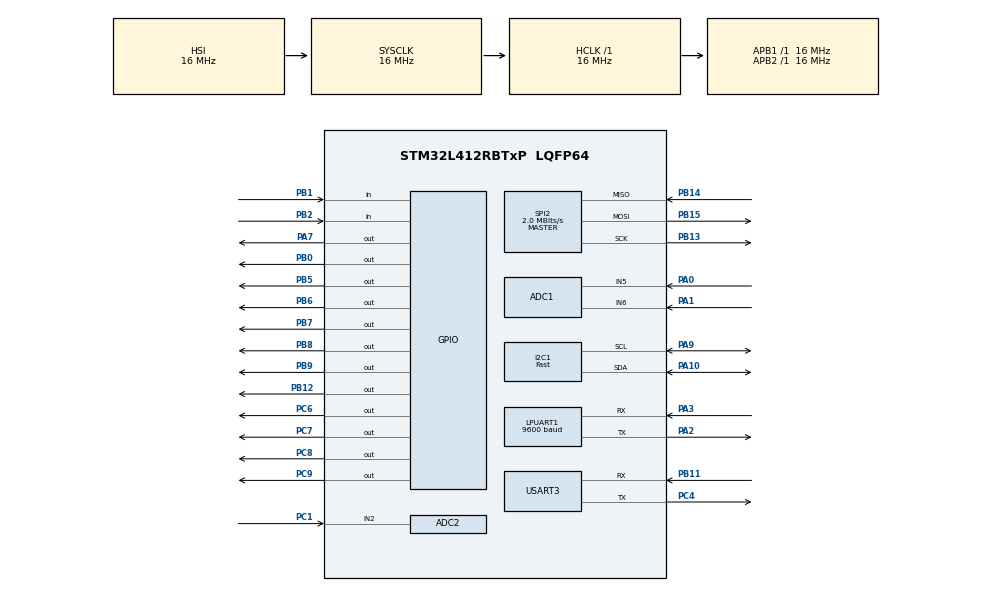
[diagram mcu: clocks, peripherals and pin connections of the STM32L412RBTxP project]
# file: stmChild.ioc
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ADC1.Channel-1\#ChannelRegularConversion=ADC_CHANNEL_5
ADC1.NbrOfConversionFlag=1
ADC1.OffsetNumber-1\#ChannelRegularConversion=ADC_OFFSET_NONE
ADC1.Rank-1\#ChannelRegularConversion=1
ADC1.SamplingTime-1\#ChannelRegularConversion=ADC_SAMPLETIME_2CYCLES_5
ADC1.master=1
ADC2.Channel-1\#ChannelRegularConversion=ADC_CHANNEL_2
ADC2.NbrOfConversionFlag=1
ADC2.OffsetNumber-1\#ChannelRegularConversion=ADC_OFFSET_NONE
ADC2.Rank-1\#ChannelRegularConversion=1
ADC2.SamplingTime-1\#ChannelRegularConversion=ADC_SAMPLETIME_6CYCLES_5
FATFS._MAX_SS=4096
FATFS._USE_LFN=1
I2C1.I2C_Speed_Mode=I2C_Fast
I2C1.Timing=0x0010061A
LPUART1.BaudRate=9600
LPUART1.WordLength=UART_WORDLENGTH_8B
Mcu.Family=STM32L4
Mcu.Name=STM32L412RBTxP
Mcu.Package=LQFP64
NVIC.LPUART1_IRQn=true\:0\:0\:false\:false\:true\:true\:true\:true
NVIC.PriorityGroup=NVIC_PRIORITYGROUP_4
NVIC.RTC_Alarm_IRQn=true\:0\:0\:false\:false\:true\:true\:true\:true
PA0.Signal=ADCx_IN5
PA1.Signal=ADCx_IN6
PA10.Mode=I2C
PA10.Signal=I2C1_SDA
PA13\ (JTMS/SWDIO).Mode=Serial_Wire
PA13\ (JTMS/SWDIO).Signal=SYS_JTMS-SWDIO
PA14\ (JTCK/SWCLK).Mode=Serial_Wire
PA14\ (JTCK/SWCLK).Signal=SYS_JTCK-SWCLK
PA2.Mode=Asynchronous
PA2.Signal=LPUART1_TX
PA3.Mode=Asynchronous
PA3.Signal=LPUART1_RX
PA7.Signal=GPIO_Output
PA9.Mode=I2C
PA9.Signal=I2C1_SCL
PB0.Signal=GPIO_Output
PB1.Signal=GPIO_Input
PB11.Mode=Asynchronous
PB11.Signal=USART3_RX
PB12.Signal=GPIO_Output
PB13.Mode=Full_Duplex_Master
PB13.Signal=SPI2_SCK
PB14.Mode=Full_Duplex_Master
PB14.Signal=SPI2_MISO
PB15.Mode=Full_Duplex_Master
PB15.Signal=SPI2_MOSI
PB2.Signal=GPIO_Input
PB5.Signal=GPIO_Output
PB6.Signal=GPIO_Output
PB7.Signal=GPIO_Output
PB8.Signal=GPIO_Output
PB9.Signal=GPIO_Output
PC1.Signal=ADCx_IN2
PC14-OSC32_IN\ (PC14).Mode=LSE-External-Oscillator
PC14-OSC32_IN\ (PC14).Signal=RCC_OSC32_IN
PC15-OSC32_OUT\ (PC15).Mode=LSE-External-Oscillator
PC15-OSC32_OUT\ (PC15).Signal=RCC_OSC32_OUT
PC4.Mode=Asynchronous
PC4.Signal=USART3_TX
PC6.Signal=GPIO_Output
PC7.Signal=GPIO_Output
PC8.Signal=GPIO_Output
PC9.Signal=GPIO_Output
PH0-OSC_IN\ (PH0).Mode=HSE-External-Oscillator
PH0-OSC_IN\ (PH0).Signal=RCC_OSC_IN
PH1-OSC_OUT\ (PH1).Mode=HSE-External-Oscillator
PH1-OSC_OUT\ (PH1).Signal=RCC_OSC_OUT
ProjectManager.HeapSize=0x200
ProjectManager.StackSize=0x400
ProjectManager.TargetToolchain=STM32CubeIDE
RCC.ADCFreq_Value=16000000
RCC.AHBFreq_Value=16000000
RCC.APB1Freq_Value=16000000
RCC.APB1TimFreq_Value=16000000
RCC.APB2Freq_Value=16000000
RCC.APB2TimFreq_Value=16000000
RCC.CortexFreq_Value=16000000
RCC.HCLKFreq_Value=16000000
RCC.HSE_VALUE=8000000
RCC.HSI48_VALUE=48000000
RCC.HSI_VALUE=16000000
RCC.MSI_VALUE=4000000
RCC.RTCClockSelection=RCC_RTCCLKSOURCE_LSE
RCC.SYSCLKFreq_VALUE=16000000
RCC.SYSCLKSource=RCC_SYSCLKSOURCE_HSI
RCC.USBFreq_Value=4000000
RCC.VCOOutputFreq_Value=32000000
RTC.Alarm-Alarm\ A=RTC_ALARM_A
RTC.AlarmDateWeekDaySel-Alarm\ A=RTC_ALARMDATEWEEKDAYSEL_WEEKDAY
RTC.AlarmDateWeekDaySel_B-Alarm\ B=RTC_ALARMDATEWEEKDAYSEL_WEEKDAY
RTC.AlarmMaskDateWeekDay-Alarm\ A=RTC_ALARMMASK_DATEWEEKDAY
RTC.AlarmMaskDateWeekDay_B-Alarm\ B=RTC_ALARMMASK_DATEWEEKDAY
RTC.AlarmMaskHours-Alarm\ A=RTC_ALARMMASK_HOURS
RTC.AlarmMaskHours_B-Alarm\ B=RTC_ALARMMASK_HOURS
RTC.AlarmMaskMinutes-Alarm\ A=RTC_ALARMMASK_MINUTES
RTC.AlarmMaskMinutes_B-Alarm\ B=RTC_ALARMMASK_MINUTES
RTC.Alarm_B-Alarm\ B=RTC_ALARM_B
RTC.Format=RTC_FORMAT_BIN
RTC.Seconds=0
RTC.Seconds_A-Alarm\ A=0
RTC.Seconds_B-Alarm\ B=30
SH.ADCx_IN2.0=ADC2_IN2,IN2-Single-Ended
SH.ADCx_IN5.0=ADC1_IN5,IN5-Single-Ended
SH.ADCx_IN6.0=ADC1_IN6,IN6-Single-Ended
SPI2.BaudRatePrescaler=SPI_BAUDRATEPRESCALER_8
SPI2.CalculateBaudRate=2.0 MBits/s
SPI2.DataSize=SPI_DATASIZE_8BIT
SPI2.Direction=SPI_DIRECTION_2LINES
SPI2.Mode=SPI_MODE_MASTER
SPI2.VirtualType=VM_MASTER
USART3.VirtualMode-Asynchronous=VM_ASYNC
VP_FATFS_VS_Generic.Mode=User_defined
VP_RNG_VS_RNG.Mode=RNG_Activate
VP_RTC_VS_RTC_Activate.Mode=RTC_Enabled
VP_RTC_VS_RTC_Alarm_A_Intern.Mode=Alarm A
VP_RTC_VS_RTC_Alarm_B_Intern.Mode=Alarm B
VP_RTC_VS_RTC_Calendar.Mode=RTC_Calendar
board=custom

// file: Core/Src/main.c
/* USER CODE BEGIN Header */
/**
  ******************************************************************************
  * @file           : main.c
  * @brief          : Main program body
  ******************************************************************************
  * @attention
  *
  * Copyright (c) 2023 STMicroelectronics.
  * All rights reserved.
  *
  * This software is licensed under terms that can be found in the LICENSE file
  * in the root directory of this software component.
  * If no LICENSE file comes with this software, it is provided AS-IS.
  *
  ******************************************************************************
  */
/* USER CODE END Header */
#include "main.h"
#include "fatfs.h"

/* USER CODE BEGIN Includes */
#include "retarget.h"
#include <ManagementChild.h>
#include <stdio.h>
#include <stdlib.h>
#include "SDcard/SDcommunication.h"
#include "UnitTests.h"
#include <RF/comms.h>

//#include <LCD/LiquidCrystal.h>
/* USER CODE END Includes */

ADC_HandleTypeDef hadc1;
ADC_HandleTypeDef hadc2;

I2C_HandleTypeDef hi2c1;

UART_HandleTypeDef hlpuart1;
UART_HandleTypeDef huart3;

RNG_HandleTypeDef hrng;

RTC_HandleTypeDef hrtc;

SPI_HandleTypeDef hspi2;

void SystemClock_Config(void);
static void MX_GPIO_Init(void);
static void MX_RTC_Init(void);
static void MX_I2C1_Init(void);
static void MX_RNG_Init(void);
static void MX_LPUART1_UART_Init(void);
static void MX_SPI2_Init(void);
static void MX_USART3_UART_Init(void);
static void MX_ADC1_Init(void);
static void MX_ADC2_Init(void);

/* USER CODE BEGIN 0 */
struct Queue RXFIFO;
uint8_t UART2_rxBuffer[20];
/* USER CODE END 0 */

int main(void)
{
  /* USER CODE BEGIN 1 */

	struct CommunicationHandles handles;
	handles.SPIhandle = &hspi2;
	handles.UARThandle = &hlpuart1;
	handles.ADChandle1 = &hadc1;
	handles.ADChandle2 = &hadc2;
	handles.I2Chandle = &hi2c1;
	handles.RTChandle = &hrtc;

  /* USER CODE END 1 */

  /* MCU Configuration--------------------------------------------------------*/

  /* Reset of all peripherals, Initializes the Flash interface and the Systick. */
  HAL_Init();

  /* Configure the system clock */
  SystemClock_Config();

  /* Initialize all configured peripherals */
  MX_GPIO_Init();
  MX_RTC_Init();
  MX_I2C1_Init();
  MX_RNG_Init();
  MX_LPUART1_UART_Init();
  MX_SPI2_Init();
  MX_FATFS_Init();
  MX_USART3_UART_Init();
  MX_ADC1_Init();
  MX_ADC2_Init();
  /* USER CODE BEGIN 2 */
  RetargetInit(&huart3);

  HAL_UART_Receive_IT(&hlpuart1, UART2_rxBuffer, MSG_SIZE_TRANSFER);

  //HAL_Delay(100);
  struct rfDataStorage rfData;
  rfData.RXFIFO = &RXFIFO;
  if(mainSetup(&rfData, &handles)){
  	  mainOperation(&rfData, &handles);
  }

  HAL_GPIO_WritePin(GPIOC, GPIO_PIN_6, GPIO_PIN_SET);
  HAL_GPIO_WritePin(GPIOC, GPIO_PIN_7, GPIO_PIN_SET);
  HAL_GPIO_WritePin(GPIOC, GPIO_PIN_8, GPIO_PIN_SET);
  HAL_GPIO_WritePin(GPIOC, GPIO_PIN_9, GPIO_PIN_SET);
  //depth test
  struct DepthData depthData;
  depthData.pos = 0;
  depthData.output1 = 0;
  depthData.output2 = 0;
  depthData.max_value_1 = 0;
  depthData.min_value_1 = 0;
  depthData.max_value_2 = 0;
  depthData.min_value_2 = 0;
  /* USER CODE END 2 */

  /* Infinite loop */
  /* USER CODE BEGIN WHILE */
  while (1)
  {
	  //Im_Here(&rfData);
    /* USER CODE END WHILE */

    /* USER CODE BEGIN 3 */

	  //HAL_GPIO_WritePin(spiGPIO, spiGPIOPin, GPIO_PIN_SET);
	  //HAL_Delay(100);
	  //SDcardTest();
	  //HAL_GPIO_WritePin(spiGPIO, spiGPIOPin, GPIO_PIN_RESET);

	  //flashTest();

	  /*HAL_GPIO_WritePin(spiGPIO, spiGPIOPin, GPIO_PIN_SET);
	  HAL_Delay(100);
	  TemperatureTest(&hspi2);
	  HAL_GPIO_WritePin(spiGPIO, spiGPIOPin, GPIO_PIN_RESET);*/

	  //HAL_GPIO_WritePin(uartGPIO, uartGPIOPin, GPIO_PIN_SET);
	  //HAL_Delay(100);
	  //rfTest(&hlpuart1);
	  //HAL_GPIO_WritePin(uartGPIO, uartGPIOPin, GPIO_PIN_RESET);

	  HAL_GPIO_WritePin(i2cGPIO, i2cGPIOPin, GPIO_PIN_SET);
	  HAL_Delay(100);
	  pressureTest(&hi2c1, LPS28DFW_I2C_ADDRESS_DEFAULT);
	  pressureTest(&hi2c1, LPS28DFW_I2C_ADDRESS_SECONDARY);
	  HAL_GPIO_WritePin(i2cGPIO, i2cGPIOPin, GPIO_PIN_RESET);
	  //mainOperation(&rfData, &handles);
	  /*HAL_GPIO_WritePin(adcGPIO, adcGPIOPin, GPIO_PIN_SET);
	  HAL_Delay(100);
	  depthTest(&hadc1, &hadc2, &depthData);
	  HAL_GPIO_WritePin(adcGPIO, adcGPIOPin, GPIO_PIN_RESET);*/

	  //HAL_GPIO_WritePin(adcGPIO, adcGPIOPin, GPIO_PIN_SET);
	  //HAL_Delay(100);
	  //batteryTest(&hadc1);
	  //HAL_GPIO_WritePin(adcGPIO, adcGPIOPin, GPIO_PIN_RESET);

	  printf("\r\nLoop");

	  HAL_Delay(100);
  }
  /* USER CODE END 3 */
}

void SystemClock_Config(void)
{
  RCC_OscInitTypeDef RCC_OscInitStruct = {0};
  RCC_ClkInitTypeDef RCC_ClkInitStruct = {0};

  /** Configure the main internal regulator output voltage
  */
  if (HAL_PWREx_ControlVoltageScaling(PWR_REGULATOR_VOLTAGE_SCALE1) != HAL_OK)
  {
    Error_Handler();
  }

  /** Configure LSE Drive Capability
  */
  HAL_PWR_EnableBkUpAccess();
  __HAL_RCC_LSEDRIVE_CONFIG(RCC_LSEDRIVE_LOW);

  /** Initializes the RCC Oscillators according to the specified parameters
  * in the RCC_OscInitTypeDef structure.
  */
  RCC_OscInitStruct.OscillatorType = RCC_OSCILLATORTYPE_HSI|RCC_OSCILLATORTYPE_LSE
                              |RCC_OSCILLATORTYPE_MSI;
  RCC_OscInitStruct.LSEState = RCC_LSE_ON;
  RCC_OscInitStruct.HSIState = RCC_HSI_ON;
  RCC_OscInitStruct.HSICalibrationValue = RCC_HSICALIBRATION_DEFAULT;
  RCC_OscInitStruct.MSIState = RCC_MSI_ON;
  RCC_OscInitStruct.MSICalibrationValue = 0;
  RCC_OscInitStruct.MSIClockRange = RCC_MSIRANGE_6;
  RCC_OscInitStruct.PLL.PLLState = RCC_PLL_NONE;
  if (HAL_RCC_OscConfig(&RCC_OscInitStruct) != HAL_OK)
  {
    Error_Handler();
  }

  /** Initializes the CPU, AHB and APB buses clocks
  */
  RCC_ClkInitStruct.ClockType = RCC_CLOCKTYPE_HCLK|RCC_CLOCKTYPE_SYSCLK
                              |RCC_CLOCKTYPE_PCLK1|RCC_CLOCKTYPE_PCLK2;
  RCC_ClkInitStruct.SYSCLKSource = RCC_SYSCLKSOURCE_HSI;
  RCC_ClkInitStruct.AHBCLKDivider = RCC_SYSCLK_DIV1;
  RCC_ClkInitStruct.APB1CLKDivider = RCC_HCLK_DIV1;
  RCC_ClkInitStruct.APB2CLKDivider = RCC_HCLK_DIV1;

  if (HAL_RCC_ClockConfig(&RCC_ClkInitStruct, FLASH_LATENCY_0) != HAL_OK)
  {
    Error_Handler();
  }

  /** Enable MSI Auto calibration
  */
  HAL_RCCEx_EnableMSIPLLMode();
}

static void MX_ADC1_Init(void)
{

  ADC_MultiModeTypeDef multimode = {0};
  ADC_ChannelConfTypeDef sConfig = {0};

  /** Common config
  */
  hadc1.Instance = ADC1;
  hadc1.Init.ClockPrescaler = ADC_CLOCK_ASYNC_DIV1;
  hadc1.Init.Resolution = ADC_RESOLUTION_12B;
  hadc1.Init.DataAlign = ADC_DATAALIGN_RIGHT;
  hadc1.Init.ScanConvMode = ADC_SCAN_DISABLE;
  hadc1.Init.EOCSelection = ADC_EOC_SINGLE_CONV;
  hadc1.Init.LowPowerAutoWait = DISABLE;
  hadc1.Init.ContinuousConvMode = DISABLE;
  hadc1.Init.NbrOfConversion = 1;
  hadc1.Init.DiscontinuousConvMode = DISABLE;
  hadc1.Init.ExternalTrigConv = ADC_SOFTWARE_START;
  hadc1.Init.ExternalTrigConvEdge = ADC_EXTERNALTRIGCONVEDGE_NONE;
  hadc1.Init.DMAContinuousRequests = DISABLE;
  hadc1.Init.Overrun = ADC_OVR_DATA_PRESERVED;
  hadc1.Init.OversamplingMode = DISABLE;
  if (HAL_ADC_Init(&hadc1) != HAL_OK)
  {
    Error_Handler();
  }

  /** Configure the ADC multi-mode
  */
  multimode.Mode = ADC_MODE_INDEPENDENT;
  if (HAL_ADCEx_MultiModeConfigChannel(&hadc1, &multimode) != HAL_OK)
  {
    Error_Handler();
  }

  /** Configure Regular Channel
  */
  sConfig.Channel = ADC_CHANNEL_5;
  sConfig.Rank = ADC_REGULAR_RANK_1;
  sConfig.SamplingTime = ADC_SAMPLETIME_2CYCLES_5;
  sConfig.SingleDiff = ADC_SINGLE_ENDED;
  sConfig.OffsetNumber = ADC_OFFSET_NONE;
  sConfig.Offset = 0;
  if (HAL_ADC_ConfigChannel(&hadc1, &sConfig) != HAL_OK)
  {
    Error_Handler();
  }

}

static void MX_ADC2_Init(void)
{

  ADC_ChannelConfTypeDef sConfig = {0};

  /** Common config
  */
  hadc2.Instance = ADC2;
  hadc2.Init.ClockPrescaler = ADC_CLOCK_ASYNC_DIV1;
  hadc2.Init.Resolution = ADC_RESOLUTION_12B;
  hadc2.Init.DataAlign = ADC_DATAALIGN_RIGHT;
  hadc2.Init.ScanConvMode = ADC_SCAN_DISABLE;
  hadc2.Init.EOCSelection = ADC_EOC_SINGLE_CONV;
  hadc2.Init.LowPowerAutoWait = DISABLE;
  hadc2.Init.ContinuousConvMode = DISABLE;
  hadc2.Init.NbrOfConversion = 1;
  hadc2.Init.DiscontinuousConvMode = DISABLE;
  hadc2.Init.ExternalTrigConv = ADC_SOFTWARE_START;
  hadc2.Init.ExternalTrigConvEdge = ADC_EXTERNALTRIGCONVEDGE_NONE;
  hadc2.Init.DMAContinuousRequests = DISABLE;
  hadc2.Init.Overrun = ADC_OVR_DATA_PRESERVED;
  hadc2.Init.OversamplingMode = DISABLE;
  if (HAL_ADC_Init(&hadc2) != HAL_OK)
  {
    Error_Handler();
  }

  /** Configure Regular Channel
  */
  sConfig.Channel = ADC_CHANNEL_2;
  sConfig.Rank = ADC_REGULAR_RANK_1;
  sConfig.SamplingTime = ADC_SAMPLETIME_6CYCLES_5;
  sConfig.SingleDiff = ADC_SINGLE_ENDED;
  sConfig.OffsetNumber = ADC_OFFSET_NONE;
  sConfig.Offset = 0;
  if (HAL_ADC_ConfigChannel(&hadc2, &sConfig) != HAL_OK)
  {
    Error_Handler();
  }

}

static void MX_I2C1_Init(void)
{

  hi2c1.Instance = I2C1;
  hi2c1.Init.Timing = 0x0010061A;
  hi2c1.Init.OwnAddress1 = 0;
  hi2c1.Init.AddressingMode = I2C_ADDRESSINGMODE_7BIT;
  hi2c1.Init.DualAddressMode = I2C_DUALADDRESS_DISABLE;
  hi2c1.Init.OwnAddress2 = 0;
  hi2c1.Init.OwnAddress2Masks = I2C_OA2_NOMASK;
  hi2c1.Init.GeneralCallMode = I2C_GENERALCALL_DISABLE;
  hi2c1.Init.NoStretchMode = I2C_NOSTRETCH_DISABLE;
  if (HAL_I2C_Init(&hi2c1) != HAL_OK)
  {
    Error_Handler();
  }

  /** Configure Analogue filter
  */
  if (HAL_I2CEx_ConfigAnalogFilter(&hi2c1, I2C_ANALOGFILTER_ENABLE) != HAL_OK)
  {
    Error_Handler();
  }

  /** Configure Digital filter
  */
  if (HAL_I2CEx_ConfigDigitalFilter(&hi2c1, 0) != HAL_OK)
  {
    Error_Handler();
  }

}

static void MX_LPUART1_UART_Init(void)
{

  hlpuart1.Instance = LPUART1;
  hlpuart1.Init.BaudRate = 9600;
  hlpuart1.Init.WordLength = UART_WORDLENGTH_8B;
  hlpuart1.Init.StopBits = UART_STOPBITS_1;
  hlpuart1.Init.Parity = UART_PARITY_NONE;
  hlpuart1.Init.Mode = UART_MODE_TX_RX;
  hlpuart1.Init.HwFlowCtl = UART_HWCONTROL_NONE;
  hlpuart1.Init.OneBitSampling = UART_ONE_BIT_SAMPLE_DISABLE;
  hlpuart1.AdvancedInit.AdvFeatureInit = UART_ADVFEATURE_NO_INIT;
  if (HAL_UART_Init(&hlpuart1) != HAL_OK)
  {
    Error_Handler();
  }

}

static void MX_USART3_UART_Init(void)
{

  huart3.Instance = USART3;
  huart3.Init.BaudRate = 115200;
  huart3.Init.WordLength = UART_WORDLENGTH_8B;
  huart3.Init.StopBits = UART_STOPBITS_1;
  huart3.Init.Parity = UART_PARITY_NONE;
  huart3.Init.Mode = UART_MODE_TX_RX;
  huart3.Init.HwFlowCtl = UART_HWCONTROL_NONE;
  huart3.Init.OverSampling = UART_OVERSAMPLING_16;
  huart3.Init.OneBitSampling = UART_ONE_BIT_SAMPLE_DISABLE;
  huart3.AdvancedInit.AdvFeatureInit = UART_ADVFEATURE_NO_INIT;
  if (HAL_UART_Init(&huart3) != HAL_OK)
  {
    Error_Handler();
  }

}

static void MX_RNG_Init(void)
{

  hrng.Instance = RNG;
  if (HAL_RNG_Init(&hrng) != HAL_OK)
  {
    Error_Handler();
  }

}

static void MX_RTC_Init(void)
{

  RTC_TimeTypeDef sTime = {0};
  RTC_DateTypeDef sDate = {0};
  RTC_AlarmTypeDef sAlarm = {0};

  /** Initialize RTC Only
  */
  hrtc.Instance = RTC;
  hrtc.Init.HourFormat = RTC_HOURFORMAT_24;
  hrtc.Init.AsynchPrediv = 127;
  hrtc.Init.SynchPrediv = 255;
  hrtc.Init.OutPut = RTC_OUTPUT_DISABLE;
  hrtc.Init.OutPutRemap = RTC_OUTPUT_REMAP_NONE;
  hrtc.Init.OutPutPolarity = RTC_OUTPUT_POLARITY_HIGH;
  hrtc.Init.OutPutType = RTC_OUTPUT_TYPE_OPENDRAIN;
  hrtc.Init.OutPutPullUp = RTC_OUTPUT_PULLUP_NONE;
  if (HAL_RTC_Init(&hrtc) != HAL_OK)
  {
    Error_Handler();
  }

  /* USER CODE BEGIN Check_RTC_BKUP */

  if (HAL_RTCEx_BKUPRead(&hrtc, RTC_BKP_DR0) != RTC_BKUP_DEFINE_CODE)
    {
  	// Clear Backup registor : recover to current RTC information

  	// Set to Time/Date from current Time/Date

  	// Write a data in ad RTC Backup data register
  	HAL_RTCEx_BKUPWrite(&hrtc, RTC_BKP_DR0, RTC_BKUP_DEFINE_CODE);

  	sTime.Hours = 0;
  	  sTime.Minutes = 0;
  	  sTime.Seconds = 0;
  	  sTime.DayLightSaving = RTC_DAYLIGHTSAVING_NONE;
  	  sTime.StoreOperation = RTC_STOREOPERATION_RESET;
  	  if (HAL_RTC_SetTime(&hrtc, &sTime, RTC_FORMAT_BIN) != HAL_OK)
  	  {
  		Error_Handler();
  	  }
  	  sDate.WeekDay = RTC_WEEKDAY_MONDAY;
  	  sDate.Month = RTC_MONTH_JANUARY;
  	  sDate.Date = 1;
  	  sDate.Year = 0;

  	  if (HAL_RTC_SetDate(&hrtc, &sDate, RTC_FORMAT_BIN) != HAL_OK)
  	  {
  		Error_Handler();
  	  }

    } else
    {
  	// Only read time and date
  	HAL_RTC_GetTime(&hrtc, &sTime, RTC_FORMAT_BIN);
  	HAL_RTC_GetDate(&hrtc, &sDate, RTC_FORMAT_BIN);

    }

  /* USER CODE END Check_RTC_BKUP */

  /** Initialize RTC and set the Time and Date
  */

  /** Enable the Alarm A
  */
  sAlarm.AlarmTime.Hours = 0;
  sAlarm.AlarmTime.Minutes = 0;
  sAlarm.AlarmTime.Seconds = 0;
  sAlarm.AlarmTime.SubSeconds = 0;
  sAlarm.AlarmTime.DayLightSaving = RTC_DAYLIGHTSAVING_NONE;
  sAlarm.AlarmTime.StoreOperation = RTC_STOREOPERATION_RESET;
  sAlarm.AlarmMask = RTC_ALARMMASK_DATEWEEKDAY|RTC_ALARMMASK_HOURS
                              |RTC_ALARMMASK_MINUTES;
  sAlarm.AlarmSubSecondMask = RTC_ALARMSUBSECONDMASK_ALL;
  sAlarm.AlarmDateWeekDaySel = RTC_ALARMDATEWEEKDAYSEL_WEEKDAY;
  sAlarm.AlarmDateWeekDay = 1;
  sAlarm.Alarm = RTC_ALARM_A;
  if (HAL_RTC_SetAlarm_IT(&hrtc, &sAlarm, RTC_FORMAT_BIN) != HAL_OK)
  {
    Error_Handler();
  }

  /** Enable the Alarm B
  */
  sAlarm.AlarmTime.Seconds = 30;
  sAlarm.Alarm = RTC_ALARM_B;
  if (HAL_RTC_SetAlarm_IT(&hrtc, &sAlarm, RTC_FORMAT_BIN) != HAL_OK)
  {
    Error_Handler();
  }

}

static void MX_SPI2_Init(void)
{

  /* SPI2 parameter configuration*/
  hspi2.Instance = SPI2;
  hspi2.Init.Mode = SPI_MODE_MASTER;
  hspi2.Init.Direction = SPI_DIRECTION_2LINES;
  hspi2.Init.DataSize = SPI_DATASIZE_8BIT;
  hspi2.Init.CLKPolarity = SPI_POLARITY_LOW;
  hspi2.Init.CLKPhase = SPI_PHASE_1EDGE;
  hspi2.Init.NSS = SPI_NSS_SOFT;
  hspi2.Init.BaudRatePrescaler = SPI_BAUDRATEPRESCALER_8;
  hspi2.Init.FirstBit = SPI_FIRSTBIT_MSB;
  hspi2.Init.TIMode = SPI_TIMODE_DISABLE;
  hspi2.Init.CRCCalculation = SPI_CRCCALCULATION_DISABLE;
  hspi2.Init.CRCPolynomial = 7;
  hspi2.Init.CRCLength = SPI_CRC_LENGTH_DATASIZE;
  hspi2.Init.NSSPMode = SPI_NSS_PULSE_ENABLE;
  if (HAL_SPI_Init(&hspi2) != HAL_OK)
  {
    Error_Handler();
  }

}

static void MX_GPIO_Init(void)
{
  GPIO_InitTypeDef GPIO_InitStruct = {0};

  /* GPIO Ports Clock Enable */
  __HAL_RCC_GPIOC_CLK_ENABLE();
  __HAL_RCC_GPIOH_CLK_ENABLE();
  __HAL_RCC_GPIOA_CLK_ENABLE();
  __HAL_RCC_GPIOB_CLK_ENABLE();

  /*Configure GPIO pin Output Level */
  HAL_GPIO_WritePin(GPIOA, GPIO_PIN_7, GPIO_PIN_RESET);

  /*Configure GPIO pin Output Level */
  HAL_GPIO_WritePin(GPIOB, GPIO_PIN_0|GPIO_PIN_12|GPIO_PIN_5|GPIO_PIN_6
                          |GPIO_PIN_7|GPIO_PIN_8|GPIO_PIN_9, GPIO_PIN_RESET);

  /*Configure GPIO pin Output Level */
  HAL_GPIO_WritePin(GPIOC, GPIO_PIN_6|GPIO_PIN_7|GPIO_PIN_8|GPIO_PIN_9, GPIO_PIN_RESET);

  /*Configure GPIO pin : PA7 */
  GPIO_InitStruct.Pin = GPIO_PIN_7;
  GPIO_InitStruct.Mode = GPIO_MODE_OUTPUT_PP;
  GPIO_InitStruct.Pull = GPIO_NOPULL;
  GPIO_InitStruct.Speed = GPIO_SPEED_FREQ_LOW;
  HAL_GPIO_Init(GPIOA, &GPIO_InitStruct);

  /*Configure GPIO pins : PB0 PB12 PB5 PB6
                           PB7 PB8 PB9 */
  GPIO_InitStruct.Pin = GPIO_PIN_0|GPIO_PIN_12|GPIO_PIN_5|GPIO_PIN_6
                          |GPIO_PIN_7|GPIO_PIN_8|GPIO_PIN_9;
  GPIO_InitStruct.Mode = GPIO_MODE_OUTPUT_PP;
  GPIO_InitStruct.Pull = GPIO_NOPULL;
  GPIO_InitStruct.Speed = GPIO_SPEED_FREQ_LOW;
  HAL_GPIO_Init(GPIOB, &GPIO_InitStruct);

  /*Configure GPIO pins : PB1 PB2 */
  GPIO_InitStruct.Pin = GPIO_PIN_1|GPIO_PIN_2;
  GPIO_InitStruct.Mode = GPIO_MODE_INPUT;
  GPIO_InitStruct.Pull = GPIO_NOPULL;
  HAL_GPIO_Init(GPIOB, &GPIO_InitStruct);

  /*Configure GPIO pins : PC6 PC7 PC8 PC9 */
  GPIO_InitStruct.Pin = GPIO_PIN_6|GPIO_PIN_7|GPIO_PIN_8|GPIO_PIN_9;
  GPIO_InitStruct.Mode = GPIO_MODE_OUTPUT_PP;
  GPIO_InitStruct.Pull = GPIO_NOPULL;
  GPIO_InitStruct.Speed = GPIO_SPEED_FREQ_LOW;
  HAL_GPIO_Init(GPIOC, &GPIO_InitStruct);

}

/* USER CODE BEGIN 4 */
void HAL_UART_RxCpltCallback(UART_HandleTypeDef *huart)
{
	//printf("\r\nreceived uart message");
	for (int i = 0; i < MSG_SIZE_TRANSFER; i++)
	{
			printf("\r\nreceived uart message: %x", UART2_rxBuffer[i]);
			enqueue(&RXFIFO, UART2_rxBuffer[i]);
	}
	HAL_UART_Receive_IT(&hlpuart1, UART2_rxBuffer, MSG_SIZE_TRANSFER);
	HAL_UART_Abort_IT(&hlpuart1);
	HAL_UART_Receive_IT(&hlpuart1, UART2_rxBuffer, MSG_SIZE_TRANSFER);
}
/* USER CODE END 4 */

void Error_Handler(void)
{
  __disable_irq();
  while (1)
  {
  }
}
